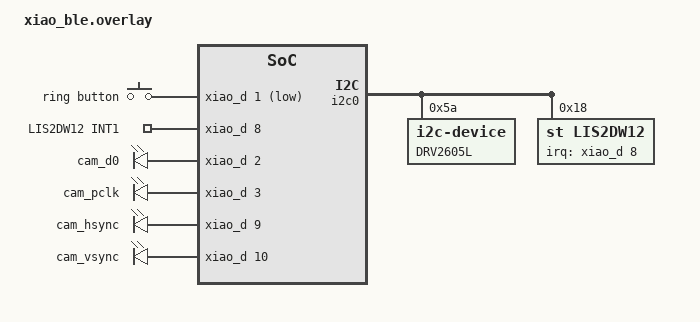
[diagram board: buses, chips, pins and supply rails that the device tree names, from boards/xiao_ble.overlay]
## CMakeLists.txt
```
# mcring stage-2 firmware skeleton — nRF52840 / Zephyr (nRF Connect SDK)
#   west build -b xiao_ble -p auto firmware/ring-nrf52840      (Seeed XIAO nRF52840 Sense)
#   west build -b nrf52840dk/nrf52840 firmware/ring-nrf52840
cmake_minimum_required(VERSION 3.20.0)
find_package(Zephyr REQUIRED HINTS $ENV{ZEPHYR_BASE})
project(mcring_ring_nrf52840)

set(MCRING_LIB ${CMAKE_CURRENT_SOURCE_DIR}/../ring-esp32s3/lib)

target_sources(app PRIVATE
  src/main.c
  src/ble_svc.c
  src/transfer.c
  src/feedback.c
  src/camera_hal.c
  src/trigger.c
  ${MCRING_LIB}/mcring_proto/mcring_proto.c
  ${MCRING_LIB}/mcring_morse/mcring_morse.c
  ${MCRING_LIB}/mcring_adpcm/mcring_adpcm.c
)
target_include_directories(app PRIVATE
  src
  ${MCRING_LIB}/mcring_proto
  ${MCRING_LIB}/mcring_morse
  ${MCRING_LIB}/mcring_adpcm
)
```

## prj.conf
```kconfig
# Bluetooth peripheral with the mcring GATT service
CONFIG_BT=y
CONFIG_BT_PERIPHERAL=y
CONFIG_BT_DEVICE_NAME="mcring"
CONFIG_BT_DEVICE_NAME_DYNAMIC=y
CONFIG_BT_DEVICE_NAME_MAX=24
CONFIG_BT_MAX_CONN=1
# Throughput: 2M PHY, DLE, big MTU, many TX buffers
CONFIG_BT_USER_PHY_UPDATE=y
CONFIG_BT_USER_DATA_LEN_UPDATE=y
CONFIG_BT_CTLR_DATA_LENGTH_MAX=251
CONFIG_BT_BUF_ACL_TX_SIZE=251
CONFIG_BT_BUF_ACL_RX_SIZE=251
CONFIG_BT_L2CAP_TX_MTU=517
CONFIG_BT_ATT_PREPARE_COUNT=4
CONFIG_BT_CONN_TX_MAX=10
CONFIG_BT_GATT_CLIENT=n
CONFIG_BT_SMP=y
CONFIG_BT_SETTINGS=y
CONFIG_SETTINGS=y
CONFIG_NVS=y
CONFIG_FLASH=y
CONFIG_FLASH_MAP=y
# Peripherals
CONFIG_GPIO=y
CONFIG_I2C=y
CONFIG_PWM=y
CONFIG_ADC=y
CONFIG_PM=y
CONFIG_PM_DEVICE=y
CONFIG_POWEROFF=y
# Memory for a 160x120 frame + JPEG scratch
CONFIG_HEAP_MEM_POOL_SIZE=65536
CONFIG_MAIN_STACK_SIZE=4096
CONFIG_BT_RX_STACK_SIZE=2048
CONFIG_LOG=y
CONFIG_LOG_DEFAULT_LEVEL=3
```

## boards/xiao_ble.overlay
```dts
/* Seeed XIAO nRF52840 Sense as the stage-2 bring-up board.
 * External parts on the XIAO header: button D1, DRV2605L + LIS2DW12 on I2C0, LRA via DRV2605,
 * LED on the on-board RGB LED, camera (HM01B0 1-bit or OV7670 8-bit) on D2..D10 — see hardware/pinmap.md. */
/ {
	mcring_pins {
		compatible = "gpio-keys";
		trigger_button: button {
			gpios = <&xiao_d 1 (GPIO_PULL_UP | GPIO_ACTIVE_LOW)>;
			label = "ring button";
		};
		imu_int: imu_int {
			gpios = <&xiao_d 8 GPIO_ACTIVE_HIGH>;
			label = "LIS2DW12 INT1";
		};
	};
	cam_pins: cam_pins {
		compatible = "gpio-leds";   /* reusing a generic gpio binding for a pin group */
		cam_d0: cam_d0 { gpios = <&xiao_d 2 GPIO_ACTIVE_HIGH>; };
		cam_pclk: cam_pclk { gpios = <&xiao_d 3 GPIO_ACTIVE_HIGH>; };
		cam_hsync: cam_hsync { gpios = <&xiao_d 9 GPIO_ACTIVE_HIGH>; };
		cam_vsync: cam_vsync { gpios = <&xiao_d 10 GPIO_ACTIVE_HIGH>; };
	};
	aliases {
		mcring-button = &trigger_button;
		mcring-imu-int = &imu_int;
	};
};

&i2c0 {
	status = "okay";
	drv2605: drv2605@5a {
		compatible = "i2c-device";
		reg = <0x5a>;
		label = "DRV2605L";
	};
	lis2dw12: lis2dw12@18 {
		compatible = "st,lis2dw12";
		reg = <0x18>;
		irq-gpios = <&xiao_d 8 GPIO_ACTIVE_HIGH>;
	};
};
```

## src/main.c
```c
/* mcring stage-2 skeleton: nRF52840 / Zephyr. Same protocol and state machine as the ESP32 build. */
#include "mcring_cfg.h"
#include "mcring_proto.h"
#include "ble_svc.h"
#include "transfer.h"
#include "feedback.h"
#include "camera_hal.h"
#include "trigger.h"
#include <zephyr/kernel.h>
#include <zephyr/logging/log.h>
#include <string.h>

LOG_MODULE_REGISTER(mcring, LOG_LEVEL_INF);

static uint8_t g_state = MC_STATE_IDLE, g_err;
static bool g_status_dirty = true;
static int64_t g_last_status;

static void send_status(void) {
  mc_status_t s = { .version = MCRING_PROTO_VERSION, .state = g_state, .battery_mv = 0, .battery_pct = 255,
                    .flags = (camera_hal_available() ? MC_FLAG_CAMERA_OK : 0) | (transfer_queued() ? MC_FLAG_QUEUED : 0),
                    .uptime_s = k_uptime_get() / 1000, .last_error = g_err ? g_err : transfer_last_error(),
                    .queued = transfer_queued() };
  uint8_t b[12]; mc_encode_status(&s, b);
  ble_svc_notify_status(b, sizeof b);
  g_last_status = k_uptime_get(); g_status_dirty = false;
}

static void do_capture(uint8_t quality, bool on_ring) {
  cam_frame_t f = {0};
  g_state = MC_STATE_CAPTURING; g_status_dirty = true;
  if (camera_hal_capture(quality, &f) != 0) { g_err = MC_ERR_CAPTURE_FAILED; feedback_play_text("HH", 20, MC_CH_LED); g_state = MC_STATE_IDLE; return; }
  xfer_item_t it = { .data = f.data, .len = f.len, .type = MC_XFER_JPEG, .width = f.width, .height = f.height, .flags = on_ring };
  if (!transfer_enqueue(&it)) k_free(f.data);
  g_err = 0;
  static const uint8_t sn[] = {1,1,1,1,1,1,3,1,1};
  feedback_play_units(sn, sizeof sn, 50, MC_CH_LED);
  g_state = ble_svc_connected() ? MC_STATE_TRANSFERRING : MC_STATE_IDLE;
}

static void on_control(const uint8_t *d, size_t n) {
  switch (d[0]) {
  case MC_OP_CAPTURE: if (g_state <= MC_STATE_TRANSFERRING) do_capture(n > 1 ? d[1] : 0, false); break;
  case MC_OP_ACK_TRANSFER: transfer_on_ack(d + 1, n - 1); g_status_dirty = true; break;
  case MC_OP_PING: case MC_OP_GET_STATUS: g_status_dirty = true; break;
  case MC_OP_ABORT: transfer_abort_all(); feedback_stop(); g_state = MC_STATE_IDLE; break;
  case MC_OP_SET_CONFIG: /* TODO: persist via settings subsystem */ g_status_dirty = true; break;
  default: LOG_WRN("op 0x%02x", d[0]);
  }
}

static void on_feedback(const uint8_t *d, size_t n) {
  switch (d[0]) {
  case MC_FB_MORSE_TEXT: { if (n < 4) return; char t[256]; uint8_t l = MIN(d[3], n - 4); memcpy(t, d + 4, l); t[l] = 0; feedback_play_text(t, d[1], d[2]); break; }
  case MC_FB_PATTERN: if (n >= 4) feedback_play_units(d + 4, MIN(d[3], n - 4), d[1], d[2]); break;
  case MC_FB_STOP: feedback_stop(); break;
  case MC_FB_MORSE_UNITS: if (n >= 5) { feedback_units_begin(mc_get_u16(d + 3), d[1], d[2]); feedback_units_put(0, d + 5, n - 5); } break;
  case MC_FB_MORSE_UNITS_CONT: if (n >= 3) feedback_units_put(mc_get_u16(d + 1), d + 3, n - 3); break;
  default: break;
  }
}

static void on_conn(bool connected) { g_status_dirty = true; if (!connected) { transfer_on_disconnect(); feedback_stop(); } }

int main(void) {
  LOG_INF("mcring nRF52840 fw %s", MCRING_FW_VERSION);
  feedback_init();
  camera_hal_init();
  trigger_init();
  ble_svc_init(on_control, on_feedback, on_conn);
  while (1) {
    if (trigger_poll_capture() && g_state <= MC_STATE_TRANSFERRING) do_capture(0, true);
    transfer_tick();
    feedback_tick();
    if (g_state == MC_STATE_TRANSFERRING && !transfer_busy() && !transfer_queued()) g_state = MC_STATE_IDLE;
    if (ble_svc_connected() && (g_status_dirty || k_uptime_get() - g_last_status > 30000)) send_status();
    k_sleep(K_MSEC(2));
  }
  return 0;
}
```

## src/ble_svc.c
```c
/* mcring GATT service on Zephyr Bluetooth. Same UUIDs/packets as the ESP32 build. */
#include "ble_svc.h"
#include "mcring_proto.h"
#include <zephyr/kernel.h>
#include <zephyr/bluetooth/bluetooth.h>
#include <zephyr/bluetooth/conn.h>
#include <zephyr/bluetooth/gatt.h>
#include <zephyr/bluetooth/uuid.h>
#include <zephyr/logging/log.h>

LOG_MODULE_REGISTER(mc_ble, LOG_LEVEL_INF);

/* 7a3bXXXX-9c2e-4f3a-b1d4-6d6372696e67 */
#define MC_UUID(x) BT_UUID_128_ENCODE(0x7a3b0000u | (x), 0x9c2e, 0x4f3a, 0xb1d4, 0x6d6372696e67ULL)
static struct bt_uuid_128 uuid_svc   = BT_UUID_INIT_128(MC_UUID(1));
static struct bt_uuid_128 uuid_ctrl  = BT_UUID_INIT_128(MC_UUID(2));
static struct bt_uuid_128 uuid_stat  = BT_UUID_INIT_128(MC_UUID(3));
static struct bt_uuid_128 uuid_meta  = BT_UUID_INIT_128(MC_UUID(4));
static struct bt_uuid_128 uuid_data  = BT_UUID_INIT_128(MC_UUID(5));
static struct bt_uuid_128 uuid_fb    = BT_UUID_INIT_128(MC_UUID(6));

static struct bt_conn *g_conn;
static bool g_data_sub, g_stat_sub;
static uint8_t g_status_val[12];
static mc_bytes_cb_t g_on_ctrl, g_on_fb;
static mc_conn_cb_t g_on_conn;

static ssize_t on_write_ctrl(struct bt_conn *c, const struct bt_gatt_attr *a, const void *buf, uint16_t len, uint16_t off, uint8_t flags) {
  if (g_on_ctrl && len) g_on_ctrl(buf, len);
  return len;
}
static ssize_t on_write_fb(struct bt_conn *c, const struct bt_gatt_attr *a, const void *buf, uint16_t len, uint16_t off, uint8_t flags) {
  if (g_on_fb && len) g_on_fb(buf, len);
  return len;
}
static ssize_t on_read_status(struct bt_conn *c, const struct bt_gatt_attr *a, void *buf, uint16_t len, uint16_t off) {
  return bt_gatt_attr_read(c, a, buf, len, off, g_status_val, sizeof g_status_val);
}
static void ccc_data(const struct bt_gatt_attr *a, uint16_t v) { g_data_sub = v == BT_GATT_CCC_NOTIFY; }
static void ccc_stat(const struct bt_gatt_attr *a, uint16_t v) { g_stat_sub = v == BT_GATT_CCC_NOTIFY; }
static void ccc_meta(const struct bt_gatt_attr *a, uint16_t v) { ARG_UNUSED(a); ARG_UNUSED(v); }

BT_GATT_SERVICE_DEFINE(mc_svc,
  BT_GATT_PRIMARY_SERVICE(&uuid_svc),
  BT_GATT_CHARACTERISTIC(&uuid_ctrl.uuid, BT_GATT_CHRC_WRITE | BT_GATT_CHRC_WRITE_WITHOUT_RESP, BT_GATT_PERM_WRITE, NULL, on_write_ctrl, NULL),
  BT_GATT_CHARACTERISTIC(&uuid_stat.uuid, BT_GATT_CHRC_READ | BT_GATT_CHRC_NOTIFY, BT_GATT_PERM_READ, on_read_status, NULL, NULL),
  BT_GATT_CCC(ccc_stat, BT_GATT_PERM_READ | BT_GATT_PERM_WRITE),
  BT_GATT_CHARACTERISTIC(&uuid_meta.uuid, BT_GATT_CHRC_NOTIFY, BT_GATT_PERM_NONE, NULL, NULL, NULL),
  BT_GATT_CCC(ccc_meta, BT_GATT_PERM_READ | BT_GATT_PERM_WRITE),
  BT_GATT_CHARACTERISTIC(&uuid_data.uuid, BT_GATT_CHRC_NOTIFY, BT_GATT_PERM_NONE, NULL, NULL, NULL),
  BT_GATT_CCC(ccc_data, BT_GATT_PERM_READ | BT_GATT_PERM_WRITE),
  BT_GATT_CHARACTERISTIC(&uuid_fb.uuid, BT_GATT_CHRC_WRITE | BT_GATT_CHRC_WRITE_WITHOUT_RESP, BT_GATT_PERM_WRITE, NULL, on_write_fb, NULL),
);
/* attribute indices: 0 svc, 1-2 ctrl, 3-4 status, 5 ccc, 6-7 meta, 8 ccc, 9-10 data, 11 ccc, 12-13 fb */
#define ATTR_STATUS (&mc_svc.attrs[4])
#define ATTR_META   (&mc_svc.attrs[7])
#define ATTR_DATA   (&mc_svc.attrs[10])

static const struct bt_data ad[] = {
  BT_DATA_BYTES(BT_DATA_FLAGS, BT_LE_AD_GENERAL | BT_LE_AD_NO_BREDR),
  BT_DATA_BYTES(BT_DATA_UUID128_ALL, MC_UUID(1)),
};
static const struct bt_data sd[] = { BT_DATA(BT_DATA_NAME_COMPLETE, CONFIG_BT_DEVICE_NAME, sizeof(CONFIG_BT_DEVICE_NAME) - 1) };

static void start_adv(void) {
  int err = bt_le_adv_start(BT_LE_ADV_CONN, ad, ARRAY_SIZE(ad), sd, ARRAY_SIZE(sd));
  if (err) LOG_ERR("adv start failed (%d)", err);
}

static void connected(struct bt_conn *conn, uint8_t err) {
  if (err) return;
  g_conn = bt_conn_ref(conn);
  LOG_INF("connected");
  /* Fast link for transfers; 2M PHY; DLE */
  static const struct bt_le_conn_param fast = BT_LE_CONN_PARAM_INIT(12, 24, 0, 400);
  bt_conn_le_param_update(conn, &fast);
  static const struct bt_conn_le_phy_param phy = BT_CONN_LE_PHY_PARAM_INIT(BT_GAP_LE_PHY_2M, BT_GAP_LE_PHY_2M);
  bt_conn_le_phy_update(conn, &phy);
  static const struct bt_conn_le_data_len_param dl = BT_LE_DATA_LEN_PARAM_MAX;
  bt_conn_le_data_len_update(conn, &dl);
  if (g_on_conn) g_on_conn(true);
}
static void disconnected(struct bt_conn *conn, uint8_t reason) {
  LOG_INF("disconnected (0x%02x)", reason);
  if (g_conn) { bt_conn_unref(g_conn); g_conn = NULL; }
  g_data_sub = g_stat_sub = false;
  if (g_on_conn) g_on_conn(false);
  start_adv();
}
BT_CONN_CB_DEFINE(conn_cbs) = { .connected = connected, .disconnected = disconnected };

int ble_svc_init(mc_bytes_cb_t on_control, mc_bytes_cb_t on_feedback, mc_conn_cb_t on_conn) {
  g_on_ctrl = on_control; g_on_fb = on_feedback; g_on_conn = on_conn;
  int err = bt_enable(NULL);
  if (err) { LOG_ERR("bt_enable %d", err); return err; }
  /* name suffix from the address */
  bt_addr_le_t addrs[1]; size_t n = 1;
  bt_id_get(addrs, &n);
  char name[24];
  snprintk(name, sizeof name, "mcring-%02X%02X", addrs[0].a.val[1], addrs[0].a.val[0]);
  bt_set_name(name);
  start_adv();
  LOG_INF("advertising as %s", name);
  return 0;
}

bool ble_svc_connected(void) { return g_conn != NULL; }
bool ble_svc_data_subscribed(void) { return g_data_sub; }
uint16_t ble_svc_mtu(void) { return g_conn ? bt_gatt_get_mtu(g_conn) : 23; }

int ble_svc_notify_status(const uint8_t *buf, size_t len) {
  memcpy(g_status_val, buf, MIN(len, sizeof g_status_val));
  if (!g_conn || !g_stat_sub) return -ENOTCONN;
  return bt_gatt_notify(g_conn, ATTR_STATUS, buf, len);
}
int ble_svc_notify_meta(const uint8_t *buf, size_t len) {
  if (!g_conn) return -ENOTCONN;
  return bt_gatt_notify(g_conn, ATTR_META, buf, len);
}
int ble_svc_notify_data(const uint8_t *buf, size_t len) {
  if (!g_conn) return -ENOTCONN;
  return bt_gatt_notify(g_conn, ATTR_DATA, buf, len);   /* -ENOMEM when out of TX buffers → caller retries */
}
void ble_svc_request_fast(void) {
  if (!g_conn) return;
  static const struct bt_le_conn_param p = BT_LE_CONN_PARAM_INIT(12, 24, 0, 400);
  bt_conn_le_param_update(g_conn, &p);
}
void ble_svc_request_slow(void) {
  if (!g_conn) return;
  static const struct bt_le_conn_param p = BT_LE_CONN_PARAM_INIT(160, 320, 2, 600);
  bt_conn_le_param_update(g_conn, &p);
}
```

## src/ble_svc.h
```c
#pragma once
#include <stdint.h>
#include <stddef.h>
#include <stdbool.h>

typedef void (*mc_bytes_cb_t)(const uint8_t *data, size_t len);
typedef void (*mc_conn_cb_t)(bool connected);

int  ble_svc_init(mc_bytes_cb_t on_control, mc_bytes_cb_t on_feedback, mc_conn_cb_t on_conn);
bool ble_svc_connected(void);
bool ble_svc_data_subscribed(void);
uint16_t ble_svc_mtu(void);
int  ble_svc_notify_status(const uint8_t *buf, size_t len);
int  ble_svc_notify_meta(const uint8_t *buf, size_t len);
int  ble_svc_notify_data(const uint8_t *buf, size_t len);   /* returns -EAGAIN when the TX pool is full */
void ble_svc_request_fast(void);
void ble_svc_request_slow(void);
```

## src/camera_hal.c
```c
#include "camera_hal.h"
#include "mcring_cfg.h"
#include <zephyr/kernel.h>
#include <zephyr/logging/log.h>
#include <errno.h>
#include <string.h>

LOG_MODULE_REGISTER(mc_cam, LOG_LEVEL_INF);

/* ---------------------------------------------------------------------------------------------
 * STATUS: skeleton. The capture path below returns a synthetic test frame so the whole BLE /
 * transfer / phone / LLM pipeline can be exercised on a XIAO nRF52840 Sense before the camera
 * work lands. Replace capture_raw() with one of:
 *   1. GPIO bit-bang of OV7670/OV7675 8-bit DVP (Arduino_OV767X does exactly this on the same chip).
 *   2. HM01B0 in 1-bit serial mode: PCLK → SPIS SCK, D0 → SPIS MOSI, VSYNC gating via GPIOTE/PPI.
 * and route raw grayscale through jpeg_encode_gray() (baseline DCT encoder, ~6 KB of code —
 * e.g. the public-domain "jo_jpeg" or TinyJPEG; not vendored here).
 * ------------------------------------------------------------------------------------------- */

static bool s_ok;

static int capture_raw(uint8_t *gray, uint16_t w, uint16_t h) {
  /* synthetic gradient + box so the phone can tell the frame apart from real captures */
  for (int y = 0; y < h; y++)
    for (int x = 0; x < w; x++)
      gray[y * w + x] = (x > w / 3 && x < 2 * w / 3 && y > h / 3 && y < 2 * h / 3) ? 40 : (uint8_t)((x * 255) / w);
  return 0;
}

/* Minimal "JPEG" stand-in: wrap the raw frame in a PGM header so the companion can still decode
 * it (the backend's Pillow accepts PGM). Swap for a real JPEG encoder — PGM is ~19 KB for 160x120. */
static int encode_pgm(const uint8_t *gray, uint16_t w, uint16_t h, cam_frame_t *out) {
  char hdr[32];
  int hl = snprintk(hdr, sizeof hdr, "P5\n%u %u\n255\n", w, h);
  out->len = hl + (size_t)w * h;
  out->data = k_malloc(out->len);
  if (!out->data) return -ENOMEM;
  memcpy(out->data, hdr, hl);
  memcpy(out->data + hl, gray, (size_t)w * h);
  out->width = w; out->height = h;
  return 0;
}

int camera_hal_init(void) {
  s_ok = true;   /* set from a real sensor probe (I2C WHO_AM_I) once wired */
  LOG_WRN("camera HAL is a stub: sending synthetic frames");
  return 0;
}
bool camera_hal_available(void) { return s_ok; }

int camera_hal_capture(uint8_t quality, cam_frame_t *out) {
  ARG_UNUSED(quality);
  uint8_t *gray = k_malloc((size_t)CAM_W * CAM_H);
  if (!gray) return -ENOMEM;
  int rc = capture_raw(gray, CAM_W, CAM_H);
  if (rc == 0) rc = encode_pgm(gray, CAM_W, CAM_H, out);
  k_free(gray);
  return rc;
}
```

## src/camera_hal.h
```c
#pragma once
#include <stdint.h>
#include <stddef.h>
#include <stdbool.h>

/* Camera abstraction for the nRF port. The nRF52840 has no camera peripheral, so a frame is
 * captured by (a) bit-banging the sensor's parallel bus from GPIO (proven on nRF52840 with
 * OV7670, see docs/research/02), or (b) clocking HM01B0 1-bit serial data into SPIS/I2S via
 * PPI. Both deliver a raw 8-bit grayscale frame; a tiny baseline JPEG encoder compresses it. */
typedef struct {
  uint8_t *data;     /* JPEG bytes (k_malloc'ed; caller frees) */
  size_t   len;
  uint16_t width, height;
} cam_frame_t;

int  camera_hal_init(void);
bool camera_hal_available(void);
int  camera_hal_capture(uint8_t quality, cam_frame_t *out);   /* 0 ok, <0 error */
```

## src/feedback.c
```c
/* Pattern player: LED via GPIO (or PWM), haptic via DRV2605 RTP over I2C. */
#include "feedback.h"
#include "mcring_cfg.h"
#include "mcring_morse.h"
#include "mcring_proto.h"
#include <zephyr/kernel.h>
#include <zephyr/device.h>
#include <zephyr/drivers/gpio.h>
#include <zephyr/drivers/i2c.h>
#include <zephyr/logging/log.h>
#include <string.h>

LOG_MODULE_REGISTER(mc_fb, LOG_LEVEL_INF);

#if DT_NODE_EXISTS(DT_ALIAS(led0))
static const struct gpio_dt_spec led = GPIO_DT_SPEC_GET(DT_ALIAS(led0), gpios);
#define HAVE_LED 1
#else
#define HAVE_LED 0
#endif
#if DT_NODE_EXISTS(DT_NODELABEL(drv2605))
static const struct i2c_dt_spec drv = I2C_DT_SPEC_GET(DT_NODELABEL(drv2605));
#define HAVE_DRV 1
#else
#define HAVE_DRV 0
#endif

static uint8_t units[MORSE_MAX_UNITS]; static size_t n_units, idx;
static uint16_t unit_ms; static uint8_t channels; static bool playing; static int64_t phase_start;
static uint8_t acc[MORSE_MAX_UNITS]; static bool acc_mask[MORSE_MAX_UNITS];
static uint16_t acc_expected, acc_received, acc_unit_ms; static uint8_t acc_channels;
static bool drv_ok;

static int drv_wr(uint8_t reg, uint8_t val) {
#if HAVE_DRV
  uint8_t b[2] = { reg, val };
  return i2c_write_dt(&drv, b, 2);
#else
  ARG_UNUSED(reg); ARG_UNUSED(val); return -ENODEV;
#endif
}

static void set_outputs(bool on) {
#if HAVE_LED
  if (channels & MC_CH_LED) gpio_pin_set_dt(&led, on);
#endif
  if ((channels & MC_CH_HAPTIC) && drv_ok) drv_wr(0x02, on ? 0x64 : 0x00);   /* RTP amplitude */
}

int feedback_init(void) {
#if HAVE_LED
  gpio_pin_configure_dt(&led, GPIO_OUTPUT_INACTIVE);
#endif
#if HAVE_DRV
  if (device_is_ready(drv.bus)) {
    uint8_t st; uint8_t reg = 0x00;
    if (i2c_write_read_dt(&drv, &reg, 1, &st, 1) == 0 && ((st >> 5) & 7) == 7) {
      drv_wr(0x01, 0x00); drv_wr(0x1A, 0x80 | 0x36); drv_wr(0x16, 0x3E); drv_wr(0x17, 0x8C); drv_wr(0x03, 6); drv_wr(0x01, 0x05);
      drv_ok = true; LOG_INF("DRV2605L ready");
    }
  }
#endif
  return 0;
}

bool feedback_playing(void) { return playing; }
void feedback_stop(void) { playing = false; n_units = idx = 0; uint8_t c = channels; channels = 0xFF; set_outputs(false); channels = c; }

void feedback_play_units(const uint8_t *u, size_t n, uint16_t ums, uint8_t ch) {
  if (!n) return;
  n = MIN(n, (size_t)MORSE_MAX_UNITS);
  memcpy(units, u, n); n_units = n; idx = 0; unit_ms = ums ? ums : 80; channels = ch ? ch : (MC_CH_LED | MC_CH_HAPTIC);
  playing = true; phase_start = k_uptime_get(); set_outputs(true);
}

void feedback_play_text(const char *text, uint8_t wpm, uint8_t ch) {
  if (!wpm) wpm = 15;
  mc_morse_spacing_t sp; mc_morse_spacing_farnsworth(&sp, wpm, wpm > 10 ? wpm / 2 : 0);
  uint8_t buf[MORSE_MAX_UNITS]; int tr;
  size_t n = mc_morse_encode(text, &sp, buf, sizeof buf, &tr);
  feedback_play_units(buf, n, mc_morse_unit_ms(wpm), ch);
}

void feedback_tick(void) {
  if (!playing) return;
  int64_t now = k_uptime_get();
  int64_t dur = (int64_t)units[idx] * unit_ms;
  if (now - phase_start < dur) return;
  idx++; phase_start += dur;
  if (idx >= n_units) { feedback_stop(); return; }
  set_outputs((idx % 2) == 0);
}

void feedback_units_begin(uint16_t n, uint16_t ums, uint8_t ch) {
  acc_expected = MIN(n, MORSE_MAX_UNITS); acc_unit_ms = ums; acc_channels = ch; acc_received = 0; memset(acc_mask, 0, sizeof acc_mask);
}
void feedback_units_put(uint16_t off, const uint8_t *d, size_t len) {
  for (size_t i = 0; i < len; i++) {
    uint16_t k = off + i; if (k >= acc_expected) break;
    if (!acc_mask[k]) { acc_mask[k] = true; acc_received++; }
    acc[k] = d[i] ? d[i] : 1;
  }
  if (acc_expected && acc_received >= acc_expected) { feedback_play_units(acc, acc_expected, acc_unit_ms, acc_channels); acc_expected = 0; }
}
```

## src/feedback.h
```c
#pragma once
#include <stdint.h>
#include <stddef.h>
#include <stdbool.h>
int  feedback_init(void);
void feedback_tick(void);
bool feedback_playing(void);
void feedback_stop(void);
void feedback_play_units(const uint8_t *units, size_t n, uint16_t unit_ms, uint8_t channels);
void feedback_play_text(const char *text, uint8_t wpm, uint8_t channels);
void feedback_units_begin(uint16_t n, uint16_t unit_ms, uint8_t channels);
void feedback_units_put(uint16_t off, const uint8_t *d, size_t len);
```

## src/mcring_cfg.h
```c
#pragma once
#define MCRING_FW_VERSION "0.1.0-nrf"
#define MAX_QUEUED_CAPTURES 2
#define TRANSFER_ACK_TIMEOUT_MS 3000
#define TRANSFER_MAX_ROUNDS 5
#define MORSE_MAX_UNITS 1024
/* Frame geometry for the bit-banged camera (HM01B0 binned / OV7670 QQVGA) */
#define CAM_W 160
#define CAM_H 120
```

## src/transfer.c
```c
/* Same algorithm as firmware/ring-esp32s3/src/transfer.cpp, in C on Zephyr. */
#include "transfer.h"
#include "ble_svc.h"
#include "mcring_cfg.h"
#include "mcring_proto.h"
#include <zephyr/kernel.h>
#include <zephyr/logging/log.h>
#include <string.h>

LOG_MODULE_REGISTER(mc_xfer, LOG_LEVEL_INF);

enum { ST_IDLE, ST_SENDING, ST_WAIT_ACK };

static xfer_item_t q[MAX_QUEUED_CAPTURES];
static size_t qlen;
static int state = ST_IDLE;
static uint16_t xfer_id, chunk_len, n_chunks;
static uint16_t pending[2048];
static size_t pending_n, pending_pos;
static int64_t end_sent_ms;
static uint8_t rounds, last_err;
static uint8_t pkt[517];

static void pop_front(void) {
  if (!qlen) return;
  k_free(q[0].data);
  for (size_t i = 1; i < qlen; i++) q[i - 1] = q[i];
  qlen--;
}

static int send_start(void) {
  const xfer_item_t *it = &q[0];
  chunk_len = mc_chunk_len_for_mtu(ble_svc_mtu());
  n_chunks = (it->len + chunk_len - 1) / chunk_len;
  mc_xfer_start_t s = { .type = it->type, .xfer_id = xfer_id, .total_len = it->len, .chunk_len = chunk_len,
                        .n_chunks = n_chunks, .crc32 = mc_crc32(it->data, it->len), .width = it->width,
                        .height = it->height, .seq_flags = it->flags };
  uint8_t b[20]; mc_encode_xfer_start(&s, b);
  LOG_INF("START id=%u len=%u chunks=%u x %u", xfer_id, (unsigned)it->len, n_chunks, chunk_len);
  return ble_svc_notify_meta(b, sizeof b);
}

static int send_chunk(uint16_t idx) {
  const xfer_item_t *it = &q[0];
  size_t off = (size_t)idx * chunk_len;
  if (off >= it->len) return 0;
  size_t n = MIN(it->len - off, (size_t)chunk_len);
  mc_put_u16(pkt, xfer_id); mc_put_u16(pkt + 2, idx);
  memcpy(pkt + 4, it->data + off, n);
  return ble_svc_notify_data(pkt, n + 4);
}

static void send_end(void) {
  uint8_t b[3]; mc_encode_xfer_end(xfer_id, b);
  end_sent_ms = k_uptime_get();
  ble_svc_notify_meta(b, sizeof b);
}

static void start_current(void) {
  xfer_id++; rounds = 0;
  if (send_start() < 0) return;
  pending_n = MIN(n_chunks, (uint16_t)ARRAY_SIZE(pending));
  for (uint16_t i = 0; i < pending_n; i++) pending[i] = i;
  pending_pos = 0;
  state = ST_SENDING;
  ble_svc_request_fast();
}

bool transfer_enqueue(const xfer_item_t *it) {
  if (qlen >= MAX_QUEUED_CAPTURES) {
    size_t victim = state == ST_IDLE ? 0 : 1;
    if (victim >= qlen) return false;
    k_free(q[victim].data);
    for (size_t i = victim + 1; i < qlen; i++) q[i - 1] = q[i];
    qlen--;
  }
  q[qlen++] = *it;
  return true;
}
size_t transfer_queued(void) { return qlen; }
bool transfer_busy(void) { return state != ST_IDLE; }
uint8_t transfer_last_error(void) { return last_err; }

void transfer_on_ack(const uint8_t *p, size_t len) {
  if (len < 5) return;
  uint16_t id = mc_get_u16(p); uint8_t status = p[2]; uint16_t nm = mc_get_u16(p + 3);
  if (id != xfer_id || state == ST_IDLE) return;
  if (status == 0) { LOG_INF("ACK ok id=%u", id); pop_front(); state = ST_IDLE; last_err = 0; if (!qlen) ble_svc_request_slow(); return; }
  if (status == 2) { pop_front(); state = ST_IDLE; return; }
  if (len < 5u + 2u * nm) nm = (len - 5) / 2;
  pending_n = 0;
  for (uint16_t i = 0; i < nm && pending_n < ARRAY_SIZE(pending); i++) {
    uint16_t idx = mc_get_u16(p + 5 + 2 * i);
    if (idx < n_chunks) pending[pending_n++] = idx;
  }
  pending_pos = 0;
  if (++rounds >= TRANSFER_MAX_ROUNDS) { last_err = MC_ERR_TRANSFER_TIMEOUT; pop_front(); state = ST_IDLE; return; }
  state = ST_SENDING;
}

void transfer_on_disconnect(void) { state = ST_IDLE; }
void transfer_abort_all(void) { while (qlen) pop_front(); state = ST_IDLE; }

void transfer_tick(void) {
  if (!ble_svc_connected() || !ble_svc_data_subscribed()) return;
  switch (state) {
  case ST_IDLE:
    if (qlen) start_current();
    break;
  case ST_SENDING: {
    int64_t t0 = k_uptime_get();
    while (pending_pos < pending_n && k_uptime_get() - t0 < 15) {
      int rc = send_chunk(pending[pending_pos]);
      if (rc == -ENOMEM || rc == -EAGAIN) { k_sleep(K_MSEC(2)); break; }   /* TX pool full */
      if (rc < 0) { if (!ble_svc_connected()) { transfer_on_disconnect(); return; } break; }
      pending_pos++;
    }
    if (pending_pos >= pending_n) { send_end(); state = ST_WAIT_ACK; }
    break;
  }
  case ST_WAIT_ACK:
    if (k_uptime_get() - end_sent_ms > TRANSFER_ACK_TIMEOUT_MS) {
      if (++rounds >= TRANSFER_MAX_ROUNDS) { last_err = MC_ERR_TRANSFER_TIMEOUT; pop_front(); state = ST_IDLE; }
      else send_end();
    }
    break;
  }
}
```

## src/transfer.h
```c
#pragma once
#include <stdint.h>
#include <stddef.h>
#include <stdbool.h>

typedef struct { uint8_t *data; size_t len; uint8_t type; uint16_t width, height; uint8_t flags; } xfer_item_t;

bool   transfer_enqueue(const xfer_item_t *it);   /* takes ownership of data (k_free'd when done) */
size_t transfer_queued(void);
bool   transfer_busy(void);
void   transfer_on_ack(const uint8_t *payload, size_t len);
void   transfer_on_disconnect(void);
void   transfer_abort_all(void);
void   transfer_tick(void);
uint8_t transfer_last_error(void);
```

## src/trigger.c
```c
#include "trigger.h"
#include <zephyr/kernel.h>
#include <zephyr/drivers/gpio.h>
#include <zephyr/logging/log.h>

LOG_MODULE_REGISTER(mc_trig, LOG_LEVEL_INF);

#if DT_NODE_EXISTS(DT_ALIAS(mcring_button))
static const struct gpio_dt_spec btn = GPIO_DT_SPEC_GET(DT_ALIAS(mcring_button), gpios);
#elif DT_NODE_EXISTS(DT_ALIAS(sw0))
static const struct gpio_dt_spec btn = GPIO_DT_SPEC_GET(DT_ALIAS(sw0), gpios);
#else
#error "no button alias (mcring-button or sw0) in the board / overlay"
#endif
#if DT_NODE_EXISTS(DT_ALIAS(mcring_imu_int))
static const struct gpio_dt_spec imu = GPIO_DT_SPEC_GET(DT_ALIAS(mcring_imu_int), gpios);
#define HAVE_IMU 1
#else
#define HAVE_IMU 0
#endif

static struct gpio_callback btn_cb, imu_cb;
static K_SEM_DEFINE(trig_sem, 0, 4);

static void on_btn(const struct device *d, struct gpio_callback *cb, uint32_t pins) { k_sem_give(&trig_sem); }
static void on_imu(const struct device *d, struct gpio_callback *cb, uint32_t pins) { k_sem_give(&trig_sem); }

int trigger_init(void) {
  if (!device_is_ready(btn.port)) return -ENODEV;
  gpio_pin_configure_dt(&btn, GPIO_INPUT);
  gpio_pin_interrupt_configure_dt(&btn, GPIO_INT_EDGE_TO_ACTIVE);
  gpio_init_callback(&btn_cb, on_btn, BIT(btn.pin));
  gpio_add_callback(btn.port, &btn_cb);
#if HAVE_IMU
  if (device_is_ready(imu.port)) {
    gpio_pin_configure_dt(&imu, GPIO_INPUT);
    gpio_pin_interrupt_configure_dt(&imu, GPIO_INT_EDGE_TO_ACTIVE);
    gpio_init_callback(&imu_cb, on_imu, BIT(imu.pin));
    gpio_add_callback(imu.port, &imu_cb);
    /* LIS2DW12 double-tap configuration is done by the Zephyr st,lis2dw12 driver via its
     * sensor API (SENSOR_TRIG_DOUBLE_TAP) — wire it here when the sensor node is enabled. */
  }
#endif
  return 0;
}

bool trigger_poll_capture(void) {
  if (k_sem_take(&trig_sem, K_NO_WAIT) != 0) return false;
  static int64_t last;
  int64_t now = k_uptime_get();
  if (now - last < 300) return false;   /* debounce / tap burst */
  last = now;
  return true;
}
```

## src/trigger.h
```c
#pragma once
#include <stdbool.h>
int  trigger_init(void);
bool trigger_poll_capture(void);   /* true once per button press / double-tap */
```
